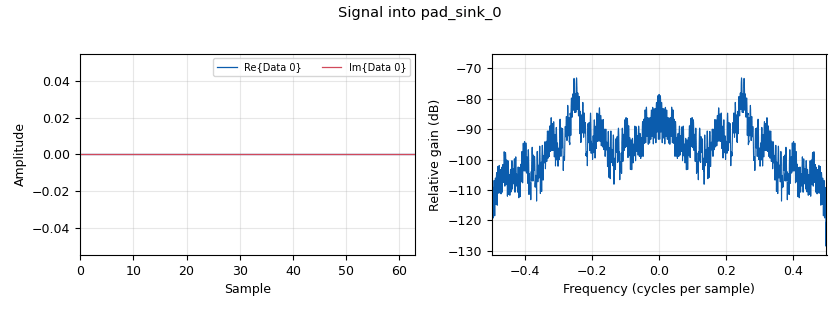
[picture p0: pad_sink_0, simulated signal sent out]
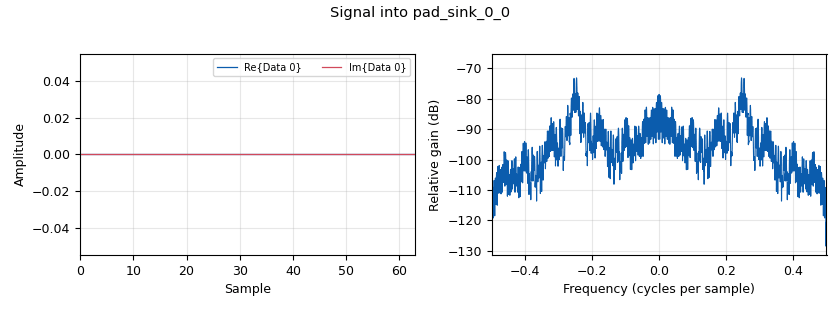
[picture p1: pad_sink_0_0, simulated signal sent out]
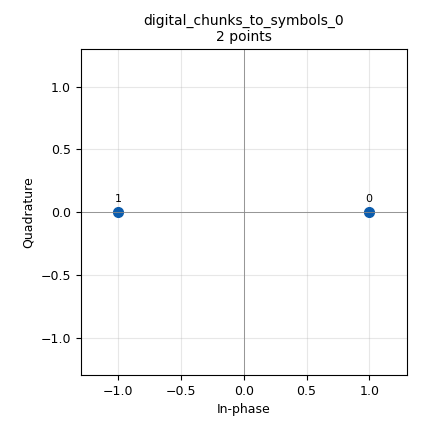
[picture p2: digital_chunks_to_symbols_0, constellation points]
options:
  parameters:
    author: GNU Radio DoA Simulator
    comment: Cospas-Sarsat 406MHz BPSK signal simulator with 5-channel KrakenSDR array and adjustable angle of incidence for DoA / direction finding.
    description: Cospas-Sarsat DoA Simulator
    generate_options: hb
    id: cospas_sarsat_doa
    output_language: python
    title: Cospas-Sarsat DoA Simulator (5-Channel KrakenSDR Sim)
  states: {}

blocks:
- name: beacon_bits
  id: variable
  parameters:
    comment: '144-bit Cospas-Sarsat frame: 15-bit preamble + sync + payload'
    value: '[0,0,0,0,0,0,0,0,0,0,0,0,0,0,0, 0,0,0,1,1,1,1, 0,1,0,0,0,0,0,1, 0,0,1,0,1,1,0,0,1,0,1,0, 0,1,0,1,0,1,0,1,0,1, 0,1,0,1,0,1,0,1,0,1, 0,1,0,1,0,1,0,1,0,1, 0,1,0,1,0,1,0,1,0,1, 0,1,0,1,0,1,0,1,0,1, 0,1,0,1,0,1,0,1,0,1, 1,0,1,0,1,0,1,0,1,0, 1,0,1,0,1,0,1,0,1,0, 1,0,1,0,1,0,1,0,1,0]'
  states: {}
- name: bit_rate
  id: variable
  parameters:
    value: '400'
  states: {}
- name: carrier_freq
  id: variable
  parameters:
    value: '1000'
  states: {}
- name: phase0
  id: variable
  parameters:
    value: cmath.exp(1j * 2 * math.pi * radius_wl *math.cos(-math.radians(theta_deg) - 0))
  states: {}
- name: phase1
  id: variable
  parameters:
    value: cmath.exp(1j * 2 * math.pi * radius_wl * math.cos(-math.radians(theta_deg) - (2*math.pi/5)*1))
  states: {}
- name: phase2
  id: variable
  parameters:
    value: cmath.exp(1j * 2 * math.pi * radius_wl * math.cos(-math.radians(theta_deg) - (2*math.pi/5)*2))
  states: {}
- name: phase3
  id: variable
  parameters:
    value: cmath.exp(1j * 2 * math.pi * radius_wl * math.cos(-math.radians(theta_deg) - (2*math.pi/5)*3))
  states: {}
- name: phase4
  id: variable
  parameters:
    value: cmath.exp(1j * 2 * math.pi * radius_wl * math.cos(-math.radians(theta_deg) - (2*math.pi/5)*4))
  states: {}
- name: radius_wl
  id: variable
  parameters:
    comment: Antenna radius in wavelengths (0.22m at 406.025 MHz)
    value: '0.298'
  states: {}
- name: samp_rate
  id: variable
  parameters:
    value: '48000'
  states: {state: disabled}
- name: sps
  id: variable
  parameters:
    value: int(samp_rate / bit_rate)
  states: {}
- name: analog_sig_source_carrier
  id: analog_sig_source_x
  parameters:
    amp: '1.0'
    comment: 406 MHz carrier (baseband sim at 10kHz)
    freq: carrier_freq
    offset: '0'
    phase: '0'
    samp_rate: samp_rate
    type: complex
    waveform: analog.GR_COS_WAVE
  states: {}
- name: blocks_float_to_complex_0
  id: blocks_float_to_complex
  parameters: {}
  states: {}
- name: blocks_multiply_ch0
  id: blocks_multiply_const_vxx
  parameters:
    const: phase0
    type: complex
  states: {}
- name: blocks_multiply_ch1
  id: blocks_multiply_const_vxx
  parameters:
    const: phase1
    type: complex
  states: {}
- name: blocks_multiply_ch2
  id: blocks_multiply_const_vxx
  parameters:
    const: phase2
    type: complex
  states: {}
- name: blocks_multiply_ch3
  id: blocks_multiply_const_vxx
  parameters:
    const: phase3
    type: complex
  states: {}
- name: blocks_multiply_ch4
  id: blocks_multiply_const_vxx
  parameters:
    const: phase4
    type: complex
  states: {}
- name: blocks_multiply_xx_0
  id: blocks_multiply_xx
  parameters:
    num_inputs: '3'
    type: complex
  states: {}
- name: blocks_repeat_0
  id: blocks_repeat
  parameters:
    interp: sps
    type: float
  states: {}
- name: blocks_vector_source_x_0
  id: blocks_vector_source_x
  parameters:
    repeat: 'True'
    type: complex
    vector: '[complex(1,0)] * int(samp_rate * 0.5) + [complex(0,0)] * int(samp_rate * 5.0)'
  states: {}
- name: digital_chunks_to_symbols_0
  id: digital_chunks_to_symbols_xx
  parameters:
    dimension: '1'
    in_type: byte
    out_type: float
    symbol_table: '[1,-1]'
  states: {}
- name: import_0
  id: import
  parameters:
    imports: import math,cmath
  states: {}
- name: pad_sink_0
  id: pad_sink
  parameters:
    label: out2
    type: complex
  states: {}
- name: pad_sink_0_0
  id: pad_sink
  parameters:
    label: out3
    type: complex
  states: {}
- name: pad_sink_0_1
  id: pad_sink
  parameters:
    label: out4
    type: complex
  states: {}
- name: pad_sink_0_2
  id: pad_sink
  parameters:
    label: out1
    type: complex
  states: {}
- name: pad_sink_0_3
  id: pad_sink
  parameters:
    label: out5
    type: complex
  states: {}
- name: qtgui_freq_sink_0
  id: qtgui_freq_sink_x
  parameters:
    average: '0.2'
    bw: samp_rate
    comment: Spectrum of all 5 antenna channels
    fc: '0'
    fftsize: '1024'
    grid: 'True'
    gui_hint: 1,0,2,4
    label1: Ch0 (Ref)
    label2: Ch1
    label3: Ch2
    label4: Ch3
    label5: Ch4
    name: '"Cospas-Sarsat 406MHz - All Channels"'
    nconnections: '5'
    type: complex
  states: {state: disabled}
- name: qtgui_time_sink_0
  id: qtgui_time_sink_x
  parameters:
    color1: black
    comment: BPSK waveform - channel 0 reference
    grid: 'True'
    gui_hint: 3,0,2,4
    name: '"Cospas-Sarsat BPSK Waveform (Ch0)"'
    nconnections: '2'
    size: '1024'
    srate: samp_rate
    style2: '2'
    type: complex
    ymax: '2'
    ymin: '-2'
  states: {state: disabled}
- name: samp_rate
  id: parameter
  parameters:
    label: samp_rate
    value: '1000'
  states: {}
- name: theta_deg
  id: parameter
  parameters:
    value: '45'
  states: {}
- name: vector_source_0
  id: blocks_vector_source_x
  parameters:
    repeat: 'True'
    type: byte
    vector: beacon_bits
  states: {}
- name: zeromq_pub_sink_ch0
  id: zeromq_pub_sink
  parameters:
    address: tcp://127.0.0.1:5555
    comment: ZMQ output channel 0 for DoA processor
    timeout: '100'
    type: complex
  states: {state: disabled}
- name: zeromq_pub_sink_ch1
  id: zeromq_pub_sink
  parameters:
    address: tcp://127.0.0.1:5556
    comment: ZMQ output channel 1
    timeout: '100'
    type: complex
  states: {state: disabled}
- name: zeromq_pub_sink_ch2
  id: zeromq_pub_sink
  parameters:
    address: tcp://127.0.0.1:5557
    comment: ZMQ output channel 2
    timeout: '100'
    type: complex
  states: {state: disabled}
- name: zeromq_pub_sink_ch3
  id: zeromq_pub_sink
  parameters:
    address: tcp://127.0.0.1:5558
    comment: ZMQ output channel 3
    timeout: '100'
    type: complex
  states: {state: disabled}
- name: zeromq_pub_sink_ch4
  id: zeromq_pub_sink
  parameters:
    address: tcp://127.0.0.1:5559
    comment: ZMQ output channel 4
    timeout: '100'
    type: complex
  states: {state: disabled}

connections:
- [analog_sig_source_carrier, '0', blocks_multiply_xx_0, '1']
- [blocks_float_to_complex_0, '0', blocks_multiply_xx_0, '0']
- [blocks_multiply_ch0, '0', pad_sink_0_2, '0']
- [blocks_multiply_ch0, '0', qtgui_freq_sink_0, '0']
- [blocks_multiply_ch0, '0', qtgui_time_sink_0, '0']
- [blocks_multiply_ch0, '0', zeromq_pub_sink_ch0, '0']
- [blocks_multiply_ch1, '0', pad_sink_0, '0']
- [blocks_multiply_ch1, '0', qtgui_freq_sink_0, '1']
- [blocks_multiply_ch1, '0', zeromq_pub_sink_ch1, '0']
- [blocks_multiply_ch2, '0', pad_sink_0_0, '0']
- [blocks_multiply_ch2, '0', qtgui_freq_sink_0, '2']
- [blocks_multiply_ch2, '0', zeromq_pub_sink_ch2, '0']
- [blocks_multiply_ch3, '0', pad_sink_0_1, '0']
- [blocks_multiply_ch3, '0', qtgui_freq_sink_0, '3']
- [blocks_multiply_ch3, '0', qtgui_time_sink_0, '1']
- [blocks_multiply_ch3, '0', zeromq_pub_sink_ch3, '0']
- [blocks_multiply_ch4, '0', pad_sink_0_3, '0']
- [blocks_multiply_ch4, '0', qtgui_freq_sink_0, '4']
- [blocks_multiply_ch4, '0', zeromq_pub_sink_ch4, '0']
- [blocks_multiply_xx_0, '0', blocks_multiply_ch0, '0']
- [blocks_multiply_xx_0, '0', blocks_multiply_ch1, '0']
- [blocks_multiply_xx_0, '0', blocks_multiply_ch2, '0']
- [blocks_multiply_xx_0, '0', blocks_multiply_ch3, '0']
- [blocks_multiply_xx_0, '0', blocks_multiply_ch4, '0']
- [blocks_repeat_0, '0', blocks_float_to_complex_0, '0']
- [blocks_vector_source_x_0, '0', blocks_multiply_xx_0, '2']
- [digital_chunks_to_symbols_0, '0', blocks_repeat_0, '0']
- [vector_source_0, '0', digital_chunks_to_symbols_0, '0']

metadata:
  file_format: 1
  grc_version: 3.10.12.0
